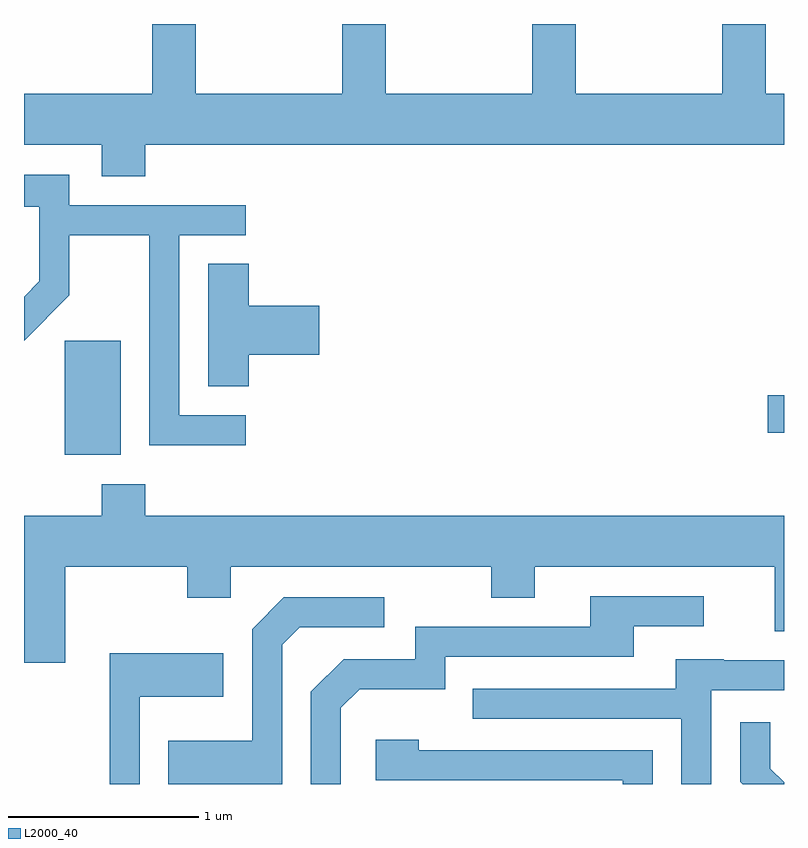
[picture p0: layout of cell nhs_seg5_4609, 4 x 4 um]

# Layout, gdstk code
import gdstk
lib = gdstk.Library(unit=1e-6, precision=1e-09)
def R(c, l, rs):  # rectangles x0, y0, x1, y1
    for r in rs: c.add(gdstk.rectangle(r[:2], r[2:], *l))
def P(c, l, *ps):  # polygons
    for p in ps: c.add(gdstk.Polygon(p, *l))
L2000_40 = (2000, 40)

nhs_seg5_4609 = lib.new_cell('nhs_seg5_4609')
R(nhs_seg5_4609, L2000_40, [(321.826,1481.806,322.119,1482.404), (325.526,1481.921,325.611,1482.119)])
P(nhs_seg5_4609, L2000_40, [(322.249,1483.436),(325.611,1483.436),(325.611,1483.704),(325.514,1483.704),(325.514,1484.072),(325.286,1484.072),(325.286,1483.704),(324.514,1483.704),(324.514,1484.072),(324.286,1484.072),(324.286,1483.704),(323.514,1483.704),(323.514,1484.072),(323.286,1484.072),(323.286,1483.704),(322.514,1483.704),(322.514,1484.072),(322.286,1484.072),(322.286,1483.704),(321.611,1483.704),(321.611,1483.436),(322.021,1483.436),(322.021,1483.271),(322.249,1483.271)],
  [(322.778,1482.014),(322.429,1482.014),(322.429,1482.961),(322.778,1482.961),(322.778,1483.119),(321.849,1483.119),(321.849,1483.279),(321.611,1483.279),(321.611,1483.111),(321.691,1483.111),(321.691,1482.717),(321.611,1482.637),(321.611,1482.406),(321.849,1482.644),(321.849,1482.961),(322.271,1482.961),(322.271,1481.856),(322.778,1481.856)],
  [(322.794,1482.331),(323.164,1482.331),(323.164,1482.589),(322.794,1482.589),(322.794,1482.809),(322.581,1482.809),(322.581,1482.166),(322.794,1482.166)],
  [(321.829,1481.216),(322.471,1481.216),(322.471,1481.051),(322.699,1481.051),(322.699,1481.216),(324.071,1481.216),(324.071,1481.051),(324.299,1481.051),(324.299,1481.216),(325.561,1481.216),(325.561,1480.876),(325.611,1480.876),(325.611,1481.484),(322.249,1481.484),(322.249,1481.649),(322.021,1481.649),(322.021,1481.484),(321.611,1481.484),(321.611,1480.711),(321.829,1480.711)],
  [(323.279,1480.474),(323.377,1480.571),(323.829,1480.571),(323.829,1480.741),(324.819,1480.741),(324.819,1480.901),(325.188,1480.901),(325.188,1481.059),(324.591,1481.059),(324.591,1480.899),(323.671,1480.899),(323.671,1480.729),(323.294,1480.729),(323.121,1480.557),(323.121,1480.072),(323.279,1480.072)],
  [(322.969,1480.804),(323.062,1480.896),(323.508,1480.896),(323.508,1481.054),(322.979,1481.054),(322.811,1480.887),(322.811,1480.299),(322.371,1480.299),(322.371,1480.072),(322.969,1480.072)],
  [(322.219,1480.531),(322.659,1480.531),(322.659,1480.759),(322.061,1480.759),(322.061,1480.072),(322.219,1480.072)],
  [(325.229,1480.566),(325.611,1480.566),(325.611,1480.724),(325.295,1480.724),(325.295,1480.729),(325.041,1480.729),(325.041,1480.574),(323.973,1480.574),(323.973,1480.416),(325.071,1480.416),(325.071,1480.072),(325.229,1480.072)],
  [(325.611,1480.08),(325.539,1480.152),(325.539,1480.398),(325.381,1480.398),(325.381,1480.084),(325.393,1480.072),(325.611,1480.072)],
  [(324.919,1480.249),(323.689,1480.249),(323.689,1480.304),(323.461,1480.304),(323.461,1480.091),(324.761,1480.091),(324.761,1480.072),(324.919,1480.072)])

lib.write_gds('nhs_seg5_4609.gds')
